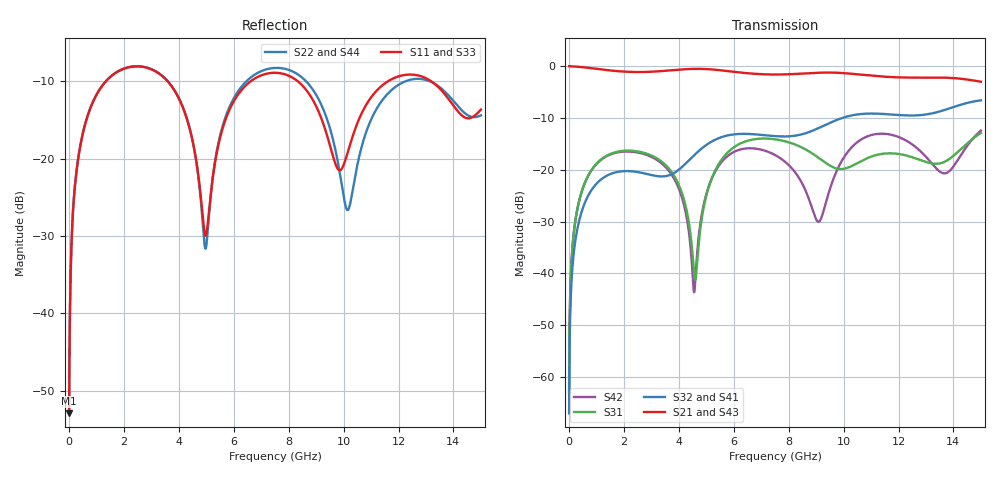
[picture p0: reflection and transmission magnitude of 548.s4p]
! Created with skrf 1.8.0 (http://scikit-rf.org).
# GHz S RI R 50.0
!freq ReS11 ImS11 ReS12 ImS12 ReS13 ImS13
! ReS14 ImS14
! ReS21 ImS21 ReS22 ImS22 ReS23 ImS23
! ReS24 ImS24
! ReS31 ImS31 ReS32 ImS32 ReS33 ImS33
! ReS34 ImS34
! ReS41 ImS41 ReS42 ImS42 ReS43 ImS43
! ReS44 ImS44
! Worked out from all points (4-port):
!   2499 points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, 5 MHz to 15 GHz, reference 50 ohm
!   strongest paths, dB at 5 MHz, 3.476 GHz, 7.19 GHz, 11.1 GHz, 15 GHz:
!     S21: 0.0, -0.9, -1.6, -1.9, -3.0
!     S43: 0.0, -0.9, -1.6, -1.9, -3.0
!     S32: -67.0, -21.3, -13.4, -9.2, -6.6
!     S41: -67.0, -21.3, -13.4, -9.2, -6.6
!     S31: -63.1, -18.9, -14.0, -17.3, -12.9
!     S42: -63.1, -19.3, -16.4, -13.2, -12.4
!   lowest |S11| = -52.9 dB at 5 MHz (marker M1), VSWR 1.00, Z = 50.2 + j0.138 ohm
!   |S11| at or under -10 dB: 3.589 GHz to 6.619 GHz (3.03 GHz wide, 59.4 % of centre); 8.33 GHz to 11.62 GHz (3.29 GHz wide, 33 % of centre); 13.19 GHz to end of sweep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
0.005  0.0018 0.00137  0.9982 -0.00351  9.05e-05 0.000696  -8.79e-05 -0.00044
       0.9982 -0.00351  0.0018 0.00137  -8.79e-05 -0.00044  9.03e-05 0.000696
       9.05e-05 0.000696  -8.79e-05 -0.00044  0.0018 0.00137  0.9982 -0.00351
       -8.79e-05 -0.00044  9.03e-05 0.000696  0.9982 -0.00351  0.0018 0.00137
0.3626511  0.0355 0.1018  0.9509 -0.2498  0.017 0.0462  -0.0138 -0.0284
           0.9509 -0.2498  0.0356 0.1018  -0.0138 -0.0284  0.0163 0.0464
           0.017 0.0462  -0.0138 -0.0284  0.0355 0.1018  0.9509 -0.2498
           -0.0138 -0.0284  0.0163 0.0464  0.9509 -0.2498  0.0356 0.1017
1.725719  0.3308 0.1433  0.3983 -0.8025  0.1451 0.0316  -0.0929 0.0181
          0.3983 -0.8025  0.3326 0.1414  -0.0931 0.0183  0.1403 0.0413
          0.1451 0.0316  -0.0931 0.0183  0.3307 0.1434  0.3982 -0.8025
          -0.0929 0.0181  0.1403 0.0413  0.3982 -0.8025  0.3328 0.1413
4.551897  0.0589 -0.1018  -0.8831 -0.3219  -0.00854 -0.00591  -0.044 0.1304
          -0.8831 -0.3219  0.0531 -0.1046  -0.0417 0.1312  -0.00625 -0.00217
          -0.00854 -0.00591  -0.0417 0.1312  0.0595 -0.1018  -0.8831 -0.3218
          -0.044 0.1304  -0.00625 -0.00217  -0.8831 -0.3218  0.0527 -0.105
7.509379  0.3583 0.012  -0.088 0.8247  0.1497 -0.1275  0.206 -0.0379
          -0.088 0.8247  0.3853 -0.00736  0.2066 -0.0434  0.1376 -0.0163
          0.1497 -0.1275  0.2066 -0.0434  0.3588 0.0134  -0.0875 0.8241
          0.206 -0.0379  0.1376 -0.0163  -0.0875 0.8241  0.3877 -0.00833
10.30429  0.1093 0.0791  0.8407 -0.0539  -0.0308 0.1046  -0.0304 -0.3331
          0.8407 -0.0539  0.053 0.0253  -0.0415 -0.3321  0.113 0.1212
          -0.0308 0.1046  -0.0415 -0.3321  0.1119 0.0734  0.8408 -0.0536
          -0.0304 -0.3331  0.113 0.1212  0.8408 -0.0536  0.0517 0.023
15  0.2058 0.0248  -0.6933 -0.1393  -0.057 0.2191  -0.0935 0.4564
    -0.6933 -0.1393  0.1902 -0.00861  -0.0756 0.4614  -0.015 0.2385
    -0.057 0.2191  -0.0756 0.4614  0.2017 0.0186  -0.6939 -0.1364
    -0.0935 0.4564  -0.015 0.2385  -0.6939 -0.1364  0.195 -0.00145
